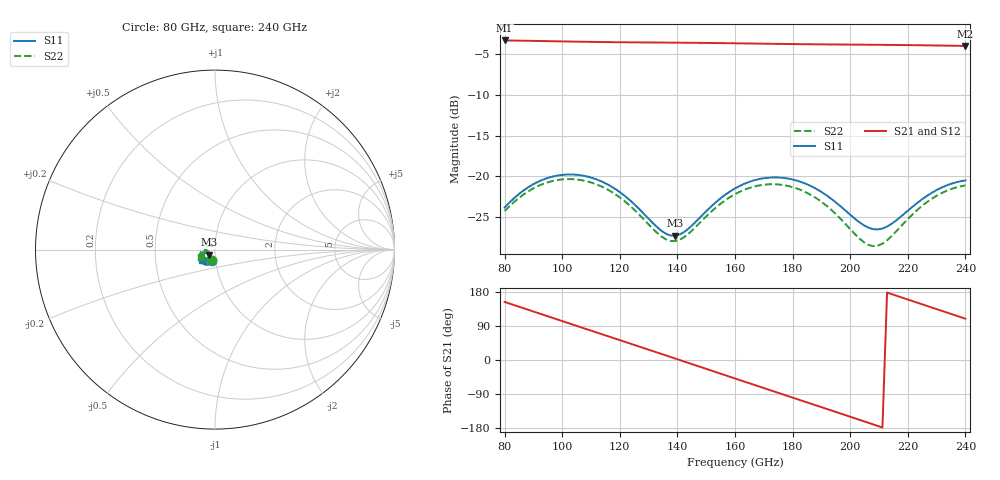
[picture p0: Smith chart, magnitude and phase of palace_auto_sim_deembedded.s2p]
! Created with skrf 1.11.0 (http://scikit-rf.org).
# GHz S DB R 50.0
!freq dBS11 angS11 dBS21 angS21 dBS12 angS12 dBS22 angS22
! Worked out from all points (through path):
!   101 points, 80 GHz to 240 GHz, reference 50 ohm
!   highest |S21| = -3.39 dB at 80 GHz (marker M1); lowest = -4.1 dB at 240 GHz (marker M2)
!   group delay of S21, straight-line fit = 7.02 ps
!   lowest |S11| = -27.2 dB at 139.2 GHz (marker M3), VSWR 1.09, Z = 46.8 - j2.7 ohm
!   |S11| at or under -10 dB: start of sweep to end of sweep
!   |S22| runs from -28.5 to -20.3 dB; largest |S21 - S12| = 7.6e-14
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80  -23.79 -103.3  -3.39 153.2  -3.39 153.2  -24.23 -107.5
88  -21.37 -109.5  -3.43 133.0  -3.43 133.0  -21.86 -114.1
94.4  -20.25 -118.9  -3.47 116.8  -3.47 116.8  -20.78 -123.9
100.8  -19.78 -129.7  -3.51 100.7  -3.51 100.7  -20.34 -135.1
107.2  -19.90 -140.6  -3.55 84.6  -3.55 84.6  -20.49 -146.4
120  -21.91 -158.5  -3.61 52.4  -3.61 52.4  -22.56 -165.2
128  -24.43 -161.6  -3.63 32.3  -3.63 32.3  -25.12 -168.6
134.4  -26.62 -152.7  -3.65 16.1  -3.65 16.1  -27.32 -160.0
139.2  -27.24 -138.5  -3.66 4.0  -3.66 4.0  -27.90 -146.0
148.8  -24.67 -119.1  -3.69 -20.4  -3.69 -20.4  -25.30 -127.9
160  -21.47 -124.1  -3.74 -48.8  -3.74 -48.8  -22.17 -134.2
168  -20.35 -134.3  -3.78 -69.0  -3.78 -69.0  -21.12 -145.3
174.4  -20.12 -143.6  -3.81 -85.1  -3.81 -85.1  -20.96 -155.3
180.8  -20.44 -152.5  -3.84 -101.3  -3.84 -101.3  -21.39 -165.1
187.2  -21.32 -160.2  -3.86 -117.4  -3.86 -117.4  -22.43 -173.5
196.8  -23.69 -165.2  -3.89 -141.6  -3.89 -141.6  -25.23 -179.1
206.4  -26.27 -152.8  -3.91 -165.9  -3.91 -165.9  -28.37 -162.6
209.6  -26.47 -144.5  -3.92 -174.0  -3.92 -174.0  -28.46 -151.7
214.4  -25.78 -133.3  -3.94 173.8  -3.94 173.8  -27.28 -138.4
225.6  -22.63 -127.0  -3.99 145.4  -3.99 145.4  -23.41 -134.4
233.6  -21.08 -133.6  -4.03 125.2  -4.03 125.2  -21.73 -142.8
240  -20.48 -141.3  -4.06 109.0  -4.06 109.0  -21.10 -151.7
